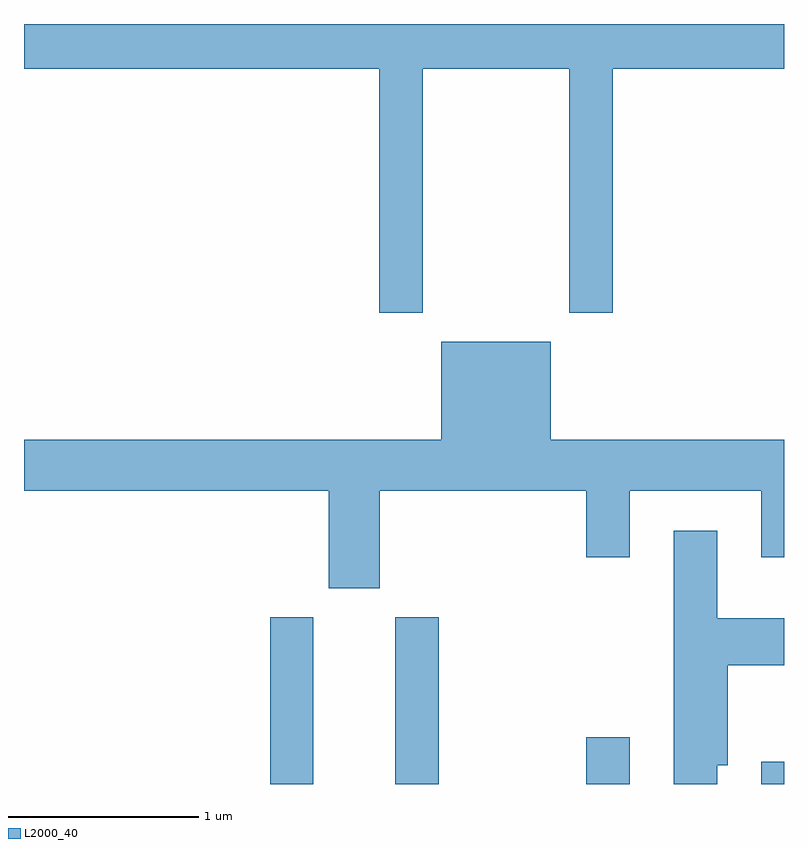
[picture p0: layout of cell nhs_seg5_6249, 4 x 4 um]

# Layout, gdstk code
import gdstk
lib = gdstk.Library(unit=1e-6, precision=1e-09)
def R(c, l, rs):  # rectangles x0, y0, x1, y1
    for r in rs: c.add(gdstk.rectangle(r[:2], r[2:], *l))
def P(c, l, *ps):  # polygons
    for p in ps: c.add(gdstk.Polygon(p, *l))
L2000_40 = (2000, 40)

nhs_seg5_6249 = lib.new_cell('nhs_seg5_6249')
R(nhs_seg5_6249, L2000_40, [(370.906,1524.072,371.134,1524.949), (371.566,1524.072,371.794,1524.949), (372.571,1524.072,372.799,1524.319), (373.491,1524.072,373.611,1524.189)])
P(nhs_seg5_6249, L2000_40, [(371.709,1527.836),(372.481,1527.836),(372.481,1526.551),(372.709,1526.551),(372.709,1527.836),(373.611,1527.836),(373.611,1528.072),(369.611,1528.072),(369.611,1527.836),(371.481,1527.836),(371.481,1526.551),(371.709,1526.551)],
  [(371.484,1525.616),(372.571,1525.616),(372.571,1525.266),(372.799,1525.266),(372.799,1525.616),(373.491,1525.616),(373.491,1525.266),(373.611,1525.266),(373.611,1525.884),(372.384,1525.884),(372.384,1526.399),(371.806,1526.399),(371.806,1525.884),(369.611,1525.884),(369.611,1525.616),(371.216,1525.616),(371.216,1525.101),(371.484,1525.101)],
  [(373.259,1524.171),(373.314,1524.171),(373.314,1524.696),(373.611,1524.696),(373.611,1524.944),(373.259,1524.944),(373.259,1525.404),(373.031,1525.404),(373.031,1524.072),(373.259,1524.072)])

lib.write_gds('nhs_seg5_6249.gds')
